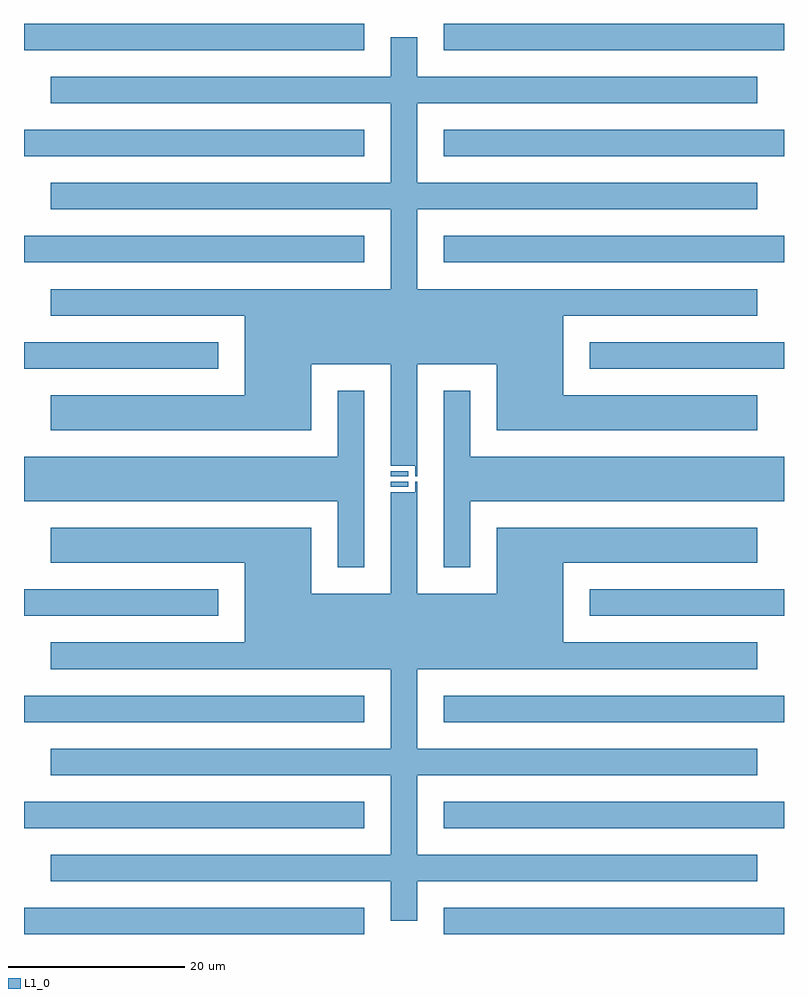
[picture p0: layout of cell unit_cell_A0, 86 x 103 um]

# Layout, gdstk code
from math import pi, radians
import gdstk
lib = gdstk.Library(unit=1e-6, precision=1e-09)
def R(c, l, rs):  # rectangles x0, y0, x1, y1
    for r in rs: c.add(gdstk.rectangle(r[:2], r[2:], *l))
def P(c, l, *ps):  # polygons
    for p in ps: c.add(gdstk.Polygon(p, *l))
L1_0 = (1, 0)

unnamed_258 = lib.new_cell('Unnamed_258')
P(unnamed_258, L1_0, [(38.5,0),(38.5,4.5),(0,4.5),(0,7.5),(38.5,7.5),(38.5,16.5),(0,16.5),(0,19.5),(38.5,19.5),(38.5,28.5),(0,28.5),(0,31.5),(22,31.5),(22,40.5),(0,40.5),(0,44.5),(29.5,44.5),(29.5,37),(38.5,37),(38.5,48.5),(40,48.5),(40,0)])

straight_l38p5_n2_csxs_e = lib.new_cell('straight_L38p5_N2_CSxs_e9659eb0')
R(straight_l38p5_n2_csxs_e, L1_0, [(0,-1.5,38.5,1.5)])

straight_array_n3_s9_l3_ = lib.new_cell('straight_array_N3_S9_L3_b91b2c6a')
straight_array_n3_s9_l3_.add(gdstk.Reference(straight_l38p5_n2_csxs_e, (0,0)))
straight_array_n3_s9_l3_.add(gdstk.Reference(straight_l38p5_n2_csxs_e, (0,12)))
straight_array_n3_s9_l3_.add(gdstk.Reference(straight_l38p5_n2_csxs_e, (0,24)))

straight_l22_n2_csxs_e96 = lib.new_cell('straight_L22_N2_CSxs_e9659eb0')
R(straight_l22_n2_csxs_e96, L1_0, [(0,-1.5,22,1.5)])

unnamed_255 = lib.new_cell('Unnamed_255')
unnamed_255.add(gdstk.Reference(straight_array_n3_s9_l3_, (-3,0)))
unnamed_255.add(gdstk.Reference(straight_l22_n2_csxs_e96, (-3,36)))

straight_l35p5_n2_csxs_3 = lib.new_cell('straight_L35p5_N2_CSxs_3e6774cf')
R(straight_l35p5_n2_csxs_3, L1_0, [(0,-2.5,35.5,2.5)])

triangle_x10_x2p5_y3_y3_ = lib.new_cell('triangle_X10_X2p5_Y3_Y3_L1_0')
R(triangle_x10_x2p5_y3_y3_, L1_0, [(0,0,10,3)])

unnamed_256 = lib.new_cell('Unnamed_256')
unnamed_256.add(gdstk.Reference(straight_l35p5_n2_csxs_3, (-3,50)))
unnamed_256.add(gdstk.Reference(triangle_x10_x2p5_y3_y3_, (35.5,50), rotation=3*pi/2, x_reflection=True))

unnamed_259 = lib.new_cell('Unnamed_259')
unnamed_259.add(gdstk.Reference(unnamed_258, (0,0)))
unnamed_259.add(gdstk.Reference(unnamed_255, (0,0)))
unnamed_259.add(gdstk.Reference(unnamed_256, (0,0)))

rectangle_s2_0p6_lwg_cf_ = lib.new_cell('rectangle_S2_0p6_LWG_CF_a6a46f17')
R(rectangle_s2_0p6_lwg_cf_, L1_0, [(0,0,2,0.6)])

rectangle_s0p2_1p2_lwg__ = lib.new_cell('rectangle_S0p2_1p2_LWG__107b6a9b')
R(rectangle_s0p2_1p2_lwg__, L1_0, [(0,0,0.2,1.2)])

unnamed_260 = lib.new_cell('Unnamed_260')
unnamed_260.add(gdstk.Reference(rectangle_s2_0p6_lwg_cf_, (0,-0.9)))
unnamed_260.add(gdstk.Reference(rectangle_s0p2_1p2_lwg__, (2.8,-1.5)))

unit_cell_a0 = lib.new_cell('unit_cell_A0')
unit_cell_a0.add(gdstk.Reference(unnamed_259, (0,0)))
unit_cell_a0.add(gdstk.Reference(unnamed_259, (80,0), rotation=pi, x_reflection=True))
unit_cell_a0.add(gdstk.Reference(unnamed_259, (0,100), x_reflection=True))
unit_cell_a0.add(gdstk.Reference(unnamed_259, (80,100), rotation=pi))
unit_cell_a0.add(gdstk.Reference(unnamed_260, (38.5,50)))
unit_cell_a0.add(gdstk.Reference(unnamed_260, (38.5,50), x_reflection=True))

lib.write_gds('unit_cell_A0.gds')
